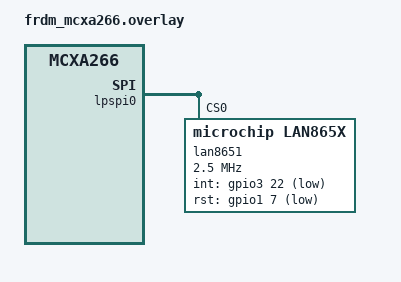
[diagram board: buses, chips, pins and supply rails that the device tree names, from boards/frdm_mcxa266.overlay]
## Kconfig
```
mainmenu "LAN8651 T1S Demo"

menu "LAN8651 T1S Demo"

config APP_UDP_PORT
	int "UDP echo port"
	default 4242
	range 1 65535

config APP_SERVER_STACK_SIZE
	int "Server thread stack size"
	default 2048
	range 1024 8192

config APP_UDP_TX_PEER_ADDR
	string "Destination IPv4 address for the periodic UDP transmitter"
	default "192.0.2.1"
	help
	  Unicast (or broadcast) IPv4 address the main loop sends a UDP packet to
	  every APP_UDP_TX_INTERVAL_MS milliseconds.

config APP_UDP_TX_PORT
	int "Destination UDP port for the periodic UDP transmitter"
	default 4242
	range 1 65535

config APP_UDP_TX_INTERVAL_MS
	int "Interval between periodic UDP transmissions (ms)"
	default 2000
	range 100 600000

config APP_HTTP_SERVER
	bool "Enable simple HTTP status server"
	help
	  Start a small TCP-based HTTP status server in addition to the UDP echo
	  server. This is intended as a footprint experiment, not a production
	  web stack.

config APP_HTTP_PORT
	int "HTTP status server port"
	default 8080
	range 1 65535
	depends on APP_HTTP_SERVER

config APP_HTTP_MAX_REQUEST
	int "Maximum HTTP request buffer size"
	default 512
	range 128 2048
	depends on APP_HTTP_SERVER

endmenu

source "Kconfig.zephyr"
```

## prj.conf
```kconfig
CONFIG_NETWORKING=y
CONFIG_NET_L2_ETHERNET=y
CONFIG_NET_IPV6=n
CONFIG_NET_IPV4=y
CONFIG_NET_ARP=y
CONFIG_NET_UDP=y
CONFIG_NET_TCP=n
CONFIG_NET_SOCKETS=y

CONFIG_NET_MGMT=y
CONFIG_NET_MGMT_EVENT=y

CONFIG_NET_CONFIG_SETTINGS=y
CONFIG_NET_CONFIG_NEED_IPV4=y
CONFIG_NET_CONFIG_MY_IPV4_ADDR="192.0.2.100"
CONFIG_NET_CONFIG_MY_IPV4_NETMASK="255.255.255.0"
CONFIG_NET_CONFIG_MY_IPV4_GW="192.0.2.1"

CONFIG_ETH_LAN865X=y

CONFIG_TEST_RANDOM_GENERATOR=y

CONFIG_MAIN_STACK_SIZE=3072
CONFIG_SYSTEM_WORKQUEUE_STACK_SIZE=2048
CONFIG_HEAP_MEM_POOL_SIZE=4096

CONFIG_NET_PKT_RX_COUNT=8
CONFIG_NET_PKT_TX_COUNT=8
CONFIG_NET_BUF_RX_COUNT=24
CONFIG_NET_BUF_TX_COUNT=24
CONFIG_NET_BUF_DATA_SIZE=128
CONFIG_NET_MAX_CONTEXTS=6

CONFIG_LOG=y
CONFIG_PRINTK=y
CONFIG_LOG_DEFAULT_LEVEL=3
```

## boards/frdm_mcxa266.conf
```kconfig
CONFIG_NET_CONFIG_MY_IPV4_ADDR="2.2.2.7"
CONFIG_NET_CONFIG_MY_IPV4_NETMASK="255.255.255.0"
CONFIG_NET_CONFIG_MY_IPV4_GW="2.2.2.2"


CONFIG_SHELL=y
CONFIG_SHELL_BACKEND_SERIAL=y
CONFIG_NET_SHELL=y
```

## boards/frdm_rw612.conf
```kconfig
CONFIG_NET_CONFIG_MY_IPV4_ADDR="192.0.2.1"

CONFIG_SHELL=y
CONFIG_SHELL_BACKEND_SERIAL=y
CONFIG_NET_SHELL=y


CONFIG_ETH_LAN865X_IRQ_THREAD_STACK_SIZE=2048
CONFIG_DMA=y
CONFIG_SPI_MCUX_FLEXCOMM_DMA=y

#CONFIG_NET_ETHERNET_BRIDGE=y
#CONFIG_NET_ETHERNET_BRIDGE_SHELL=y
#CONFIG_NET_ETHERNET_BRIDGE_LOG_LEVEL_DBG=y
```

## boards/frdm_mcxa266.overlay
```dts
#include <zephyr/dt-bindings/gpio/arduino-header-r3.h>

/ {
	aliases {
		ethernet0 = &lan8651;
	};
};


&lpspi0 {
	status = "okay";
	pinctrl-names = "default";

	lan8651: lan865x@0 {
		compatible = "microchip,lan865x";
		reg = <0>;
		spi-max-frequency = <2500000>;
		int-gpios = <&gpio3 22 (GPIO_ACTIVE_LOW | GPIO_PULL_UP)>;
		rst-gpios = <&gpio1 7 GPIO_ACTIVE_LOW>;
		local-mac-address = [02 00 5e 10 02 66];
		phy-handle = <&lan8651_phy>;

		lan8651_mdio: lan8651_mdio {
			compatible = "microchip,lan865x-mdio";
			#address-cells = <1>;
			#size-cells = <0>;
			status = "okay";

			lan8651_phy: ethernet-phy@0 {
				compatible = "microchip,t1s-phy";
				reg = <0>;
				plca-enable;
				plca-node-id = <2>;
				plca-node-count = <8>;
				plca-burst-count = <0>;
				plca-burst-timer = <0x80>;
				plca-to-timer = <0x20>;
				status = "okay";
			};
		};

		status = "okay";
	};
};
```

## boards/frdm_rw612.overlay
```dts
#include <nxp/rw/RW612-pinctrl.h>

/*
 * LAN8651 (10BASE-T1S) on the FRDM-RW612 mikroBUS socket.
 *
 * Unlike the MCXA boards, RW612 has no LPSPI. The mikroBUS SPI is wired to
 * Flexcomm 1 (nxp,lpc-spi), which the board already aliases as mikrobus_spi:
 *
 *   mikroBUS SCK  -> GPIO_7  (hsgpio0 7,  FC1 SPI clock, IO7)
 *   mikroBUS MISO -> GPIO_8  (hsgpio0 8,  FC1 SPI MISO,  IO8)
 *   mikroBUS MOSI -> GPIO_9  (hsgpio0 9,  FC1 SPI MOSI,  IO9)
 *   mikroBUS CS   -> GPIO_10 (hsgpio0 10, FC1 SPI SSEL1) -> used as GPIO CS
 *   mikroBUS RST  -> GPIO_19 (hsgpio0 19)
 *   mikroBUS INT  -> GPIO_54 (hsgpio1 22)
 *
 * We mux only the FC1 SPI clock/data lines (the SS0 group also pulls in
 * SCK/MISO/MOSI on IO7/8/9) and leave IO10 as a GPIO so it can act as the
 * driver-managed chip select via cs-gpios.
 */

&enet_mac  { status = "disabled"; };
&enet_mdio { status = "disabled"; };
&phy       { status = "disabled"; };
&enet      { status = "disabled"; };

/ {
	aliases {
		ethernet0 = &lan8651;
	};
};

&pinctrl {
      pinmux_flexcomm1_spi_t1s: pinmux_flexcomm1_spi_t1s {
          group0 {
              pinmux = <IO_MUX_FC1_SPI_SS0_IO7   /* SCK  */
                        IO_MUX_FC1_SPI_SS0_IO8   /* MISO */
                        IO_MUX_FC1_SPI_SS0_IO9>; /* MOSI */
              slew-rate = "ultra";
          };
      };
  };

&flexcomm1 {
	compatible = "nxp,lpc-spi";
	status = "okay";
	pinctrl-0 = <&pinmux_flexcomm1_spi_t1s>;
	pinctrl-names = "default";
	#address-cells = <1>;
	#size-cells = <0>;
	cs-gpios = <&hsgpio0 10 GPIO_ACTIVE_LOW>;

	lan8651: lan865x@0 {
		compatible = "microchip,lan865x";
		reg = <0>;
		spi-max-frequency = <2500000>;
		int-gpios = <&hsgpio1 22 GPIO_ACTIVE_LOW>;
        rst-gpios = <&hsgpio0 19 GPIO_ACTIVE_LOW>;
		local-mac-address = [02 00 5e 10 06 12];
		phy-handle = <&lan8651_phy>;

		lan8651_mdio: lan8651_mdio {
			compatible = "microchip,lan865x-mdio";
			#address-cells = <1>;
			#size-cells = <0>;
			status = "okay";

			lan8651_phy: ethernet-phy@0 {
				compatible = "microchip,t1s-phy";
				reg = <0>;
				plca-enable;
				plca-node-id = <3>;
				plca-node-count = <8>;
				plca-burst-count = <0>;
				plca-burst-timer = <0x80>;
				plca-to-timer = <0x20>;
				status = "okay";
			};
		};

		status = "okay";
	};
};
```

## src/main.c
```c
#include <errno.h>
#include <inttypes.h>
#include <stdbool.h>
#include <stdio.h>
#include <string.h>

#include <zephyr/kernel.h>
#include <zephyr/logging/log.h>
#include <zephyr/net/ethernet_mgmt.h>
#include <zephyr/net/net_if.h>
#include <zephyr/net/net_ip.h>
#include <zephyr/net/net_mgmt.h>
#include <zephyr/net/socket.h>

LOG_MODULE_REGISTER(lan8651_t1s_demo, LOG_LEVEL_INF);

#define UDP_THREAD_PRIO 7
#define HTTP_THREAD_PRIO 7

#define EVENT_MASK (NET_EVENT_IF_UP | NET_EVENT_IF_DOWN | NET_EVENT_IPV4_ADDR_ADD | \
		    NET_EVENT_ETHERNET_CARRIER_ON | NET_EVENT_ETHERNET_CARRIER_OFF)

static struct net_mgmt_event_callback mgmt_cb;
static K_SEM_DEFINE(ipv4_ready, 0, 1);

K_THREAD_STACK_DEFINE(udp_stack, CONFIG_APP_SERVER_STACK_SIZE);
static struct k_thread udp_thread;

#if defined(CONFIG_APP_HTTP_SERVER)
K_THREAD_STACK_DEFINE(http_stack, CONFIG_APP_SERVER_STACK_SIZE);
static struct k_thread http_thread;
#endif

static const struct net_in_addr *get_ipv4_addr(struct net_if *iface)
{
	struct net_if_config *cfg = net_if_get_config(iface);

	if (cfg == NULL || cfg->ip.ipv4 == NULL) {
		return NULL;
	}

	for (int i = 0; i < NET_IF_MAX_IPV4_ADDR; i++) {
		struct net_if_addr_ipv4 *ifaddr = &cfg->ip.ipv4->unicast[i];

		if (ifaddr->ipv4.is_used &&
		    !net_ipv4_is_addr_unspecified(&ifaddr->ipv4.address.in_addr)) {
			return &ifaddr->ipv4.address.in_addr;
		}
	}

	return NULL;
}

static void ipv4_to_text(struct net_if *iface, char *buf, size_t len)
{
	const struct net_in_addr *addr = get_ipv4_addr(iface);

	if (addr == NULL) {
		snprintk(buf, len, "0.0.0.0");
		return;
	}

	net_addr_ntop(AF_INET, addr, buf, len);
}

static void log_iface_state(struct net_if *iface)
{
	struct net_linkaddr *ll = net_if_get_link_addr(iface);
	char ip_buf[NET_IPV4_ADDR_LEN];

	ipv4_to_text(iface, ip_buf, sizeof(ip_buf));

	if (ll != NULL && ll->len >= 6U) {
		LOG_INF("iface=%p IPv4=%s MAC=%02x:%02x:%02x:%02x:%02x:%02x",
			iface, ip_buf,
			ll->addr[0], ll->addr[1], ll->addr[2],
			ll->addr[3], ll->addr[4], ll->addr[5]);
		return;
	}

	LOG_INF("iface=%p IPv4=%s", iface, ip_buf);
}

static void event_handler(struct net_mgmt_event_callback *cb, uint64_t mgmt_event,
			  struct net_if *iface)
{
	ARG_UNUSED(cb);

	switch (mgmt_event) {
	case NET_EVENT_IF_UP:
		LOG_INF("Network interface is up");
		log_iface_state(iface);
		break;
	case NET_EVENT_IF_DOWN:
		LOG_WRN("Network interface is down");
		break;
	case NET_EVENT_ETHERNET_CARRIER_ON:
		LOG_INF("Ethernet carrier detected");
		break;
	case NET_EVENT_ETHERNET_CARRIER_OFF:
		LOG_WRN("Ethernet carrier lost");
		break;
	case NET_EVENT_IPV4_ADDR_ADD:
		LOG_INF("IPv4 address configured");
		log_iface_state(iface);
		k_sem_give(&ipv4_ready);
		break;
	default:
		break;
	}
}

static void wait_for_ipv4(struct net_if *iface)
{
	if (get_ipv4_addr(iface) != NULL) {
		log_iface_state(iface);
		return;
	}

	LOG_INF("Waiting for static IPv4 configuration");

	if (k_sem_take(&ipv4_ready, K_SECONDS(10)) != 0) {
		LOG_WRN("IPv4 address not configured within 10 seconds");
	}
}

static void udp_server(void *a, void *b, void *c)
{
	ARG_UNUSED(a);
	ARG_UNUSED(b);
	ARG_UNUSED(c);

	while (true) {
		int sock = zsock_socket(AF_INET, SOCK_DGRAM, IPPROTO_UDP);

		if (sock < 0) {
			LOG_ERR("UDP socket create failed: %d", errno);
			k_sleep(K_SECONDS(1));
			continue;
		}

		struct sockaddr_in local = {
			.sin_family = AF_INET,
			.sin_port = htons(CONFIG_APP_UDP_PORT),
			.sin_addr = {
				.s_addr = htonl(INADDR_ANY),
			},
		};

		if (zsock_bind(sock, (struct sockaddr *)&local, sizeof(local)) < 0) {
			LOG_ERR("UDP bind failed: %d", errno);
			zsock_close(sock);
			k_sleep(K_SECONDS(1));
			continue;
		}

		LOG_INF("UDP echo server listening on port %d", CONFIG_APP_UDP_PORT);

		while (true) {
			uint8_t buf[256];
			struct sockaddr_in peer;
			socklen_t peer_len = sizeof(peer);
			char peer_ip[NET_IPV4_ADDR_LEN];
			int len = zsock_recvfrom(sock, buf, sizeof(buf), 0,
						 (struct sockaddr *)&peer, &peer_len);

			if (len < 0) {
				LOG_ERR("UDP recvfrom failed: %d", errno);
				break;
			}

			net_addr_ntop(AF_INET, &peer.sin_addr, peer_ip, sizeof(peer_ip));
			LOG_INF("UDP rx %d bytes from %s:%u",
				len, peer_ip, ntohs(peer.sin_port));

			if (zsock_sendto(sock, buf, len, 0,
					 (struct sockaddr *)&peer, peer_len) < 0) {
				LOG_ERR("UDP sendto failed: %d", errno);
				break;
			}
		}

		zsock_close(sock);
		k_sleep(K_MSEC(250));
	}
}

#if defined(CONFIG_APP_HTTP_SERVER)
static void http_server(void *a, void *b, void *c)
{
	ARG_UNUSED(a);
	ARG_UNUSED(b);
	ARG_UNUSED(c);

	while (true) {
		int server = zsock_socket(AF_INET, SOCK_STREAM, IPPROTO_TCP);

		if (server < 0) {
			LOG_ERR("HTTP socket create failed: %d", errno);
			k_sleep(K_SECONDS(1));
			continue;
		}

		struct sockaddr_in local = {
			.sin_family = AF_INET,
			.sin_port = htons(CONFIG_APP_HTTP_PORT),
			.sin_addr = {
				.s_addr = htonl(INADDR_ANY),
			},
		};

		if (zsock_bind(server, (struct sockaddr *)&local, sizeof(local)) < 0) {
			LOG_ERR("HTTP bind failed: %d", errno);
			zsock_close(server);
			k_sleep(K_SECONDS(1));
			continue;
		}

		if (zsock_listen(server, 1) < 0) {
			LOG_ERR("HTTP listen failed: %d", errno);
			zsock_close(server);
			k_sleep(K_SECONDS(1));
			continue;
		}

		LOG_INF("HTTP status server listening on port %d", CONFIG_APP_HTTP_PORT);

		while (true) {
			struct sockaddr_in peer;
			socklen_t peer_len = sizeof(peer);
			char peer_ip[NET_IPV4_ADDR_LEN];
			char request[CONFIG_APP_HTTP_MAX_REQUEST];
			char body[192];
			char response[384];
			struct net_if *iface = net_if_get_default();
			char ip_buf[NET_IPV4_ADDR_LEN];
			int client = zsock_accept(server, (struct sockaddr *)&peer, &peer_len);

			if (client < 0) {
				LOG_ERR("HTTP accept failed: %d", errno);
				break;
			}

			net_addr_ntop(AF_INET, &peer.sin_addr, peer_ip, sizeof(peer_ip));
			LOG_INF("HTTP client %s:%u connected", peer_ip, ntohs(peer.sin_port));

			(void)zsock_recv(client, request, sizeof(request), 0);

			ipv4_to_text(iface, ip_buf, sizeof(ip_buf));

			int body_len = snprintk(body, sizeof(body),
						"lan8651_t1s_demo\nipv4=%s\nudp_port=%d\nuptime_ms=%" PRId64 "\n",
						ip_buf, CONFIG_APP_UDP_PORT, k_uptime_get());
			int response_len = snprintk(response, sizeof(response),
						    "HTTP/1.1 200 OK\r\n"
						    "Content-Type: text/plain\r\n"
						    "Content-Length: %d\r\n"
						    "Connection: close\r\n"
						    "\r\n"
						    "%s",
						    body_len, body);

			(void)zsock_send(client, response, response_len, 0);
			zsock_close(client);
		}

		zsock_close(server);
		k_sleep(K_MSEC(250));
	}
}
#endif


#define CONFIG__DEST_IP_ADDRESS	"2.2.2.2"

int main(void)
{
	//struct net_if *iface = net_if_get_default();
	struct net_if *iface = net_if_lookup_by_dev(DEVICE_DT_GET(DT_ALIAS(ethernet0)));

	if (iface == NULL) {
		LOG_ERR("No default network interface found");
		return -ENODEV;
	}

	net_mgmt_init_event_callback(&mgmt_cb, event_handler, EVENT_MASK);
	net_mgmt_add_event_callback(&mgmt_cb);

	wait_for_ipv4(iface);

	(void)k_thread_create(&udp_thread, udp_stack, K_THREAD_STACK_SIZEOF(udp_stack),
			      udp_server, NULL, NULL, NULL,
			      UDP_THREAD_PRIO, 0, K_NO_WAIT);

#if defined(CONFIG_APP_HTTP_SERVER)
	(void)k_thread_create(&http_thread, http_stack, K_THREAD_STACK_SIZEOF(http_stack),
			      http_server, NULL, NULL, NULL,
			      HTTP_THREAD_PRIO, 0, K_NO_WAIT);
#endif

	LOG_INF("LAN8651 T1S demo ready");

	/* Periodic UDP transmitter: send one packet every
	 * CONFIG_APP_UDP_TX_INTERVAL_MS to CONFIG__DEST_IP_ADDRESS.
	 */
	int tx_sock = zsock_socket(AF_INET, SOCK_DGRAM, IPPROTO_UDP);

	if (tx_sock < 0) {
		LOG_ERR("UDP tx socket create failed: %d", errno);
		return -errno;
	}

	struct sockaddr_in peer = {
		.sin_family = AF_INET,
		.sin_port = htons(CONFIG_APP_UDP_TX_PORT),
	};

	if (zsock_inet_pton(AF_INET, CONFIG__DEST_IP_ADDRESS, &peer.sin_addr) != 1) {
		LOG_ERR("Invalid UDP peer address '%s'", CONFIG__DEST_IP_ADDRESS);
		zsock_close(tx_sock);
		return -EINVAL;
	}

	uint32_t seq = 0U;

	while (true) {
		char msg[64];
		int len = snprintk(msg, sizeof(msg),
				   "lan8651_t1s seq=%u uptime_ms=%" PRId64,
				   seq, k_uptime_get());
		int ret = zsock_sendto(tx_sock, msg, len, 0,
				       (struct sockaddr *)&peer, sizeof(peer));

		if (ret < 0) {
			LOG_ERR("UDP tx to %s:%d failed: %d",
				CONFIG__DEST_IP_ADDRESS, CONFIG_APP_UDP_TX_PORT, errno);
		} else {
			LOG_INF("UDP tx %d bytes to %s:%d (seq=%u)",
				ret, CONFIG__DEST_IP_ADDRESS, CONFIG_APP_UDP_TX_PORT, seq);
		}

		seq++;
		k_sleep(K_MSEC(CONFIG_APP_UDP_TX_INTERVAL_MS));
	}

	return 0;
}
```
